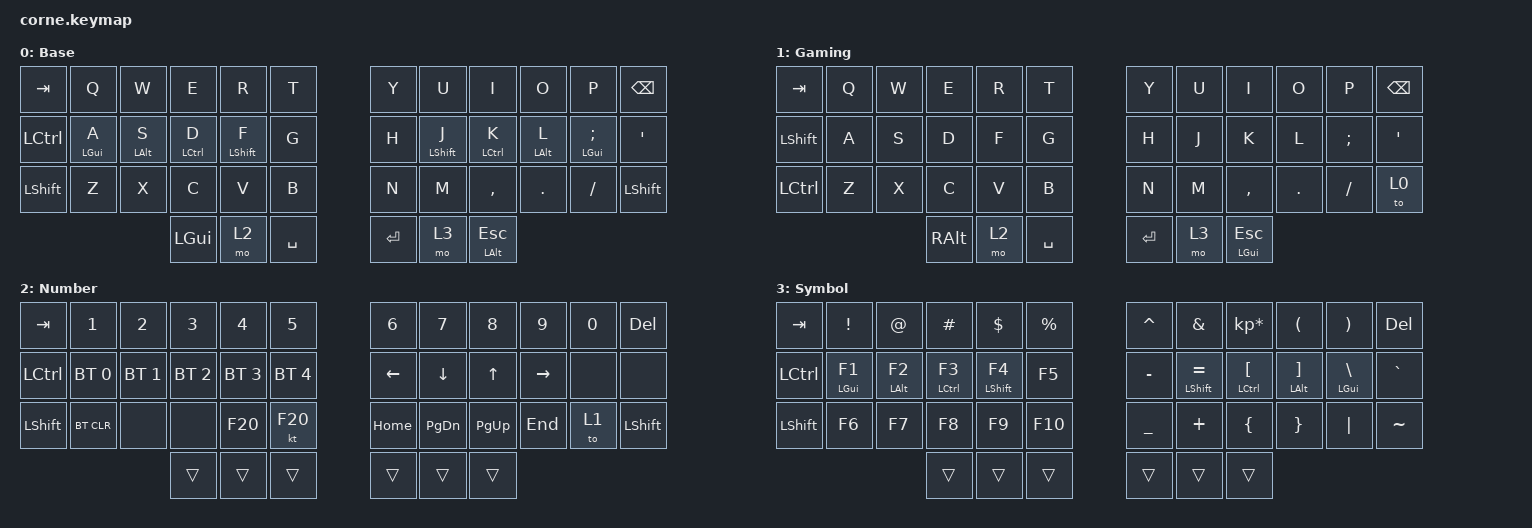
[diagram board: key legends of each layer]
/*
 * Copyright (c) 2020 The ZMK Contributors
 *
 * SPDX-License-Identifier: MIT
 */

#include "keypos_42keys.h"
#include <behaviors.dtsi>
#include <dt-bindings/zmk/bt.h>
#include <dt-bindings/zmk/keys.h>
#include <dt-bindings/zmk/keys.h>

#define KEYS_L LT0 LT1 LT2 LT3 LT4 LT5 LM0 LM1 LM2 LM3 LM4 LM5 LB0 LB1 LB2 LB3 LB4 LB5
#define KEYS_R RT0 RT1 RT2 RT3 RT4 RT5 RM0 RM1 RM2 RM3 RM4 RM5 RB0 RB1 RB2 RB3 RB4 RB5
#define THUMB_L LH2 LH1 LH0
#define THUMB_R RH0 RH1 RH2

/* &mt {
    tapping-term-ms = <200>;
}; */

/ {
    behaviors {
        hm_l: homerow_mod_left {
            compatible = "zmk,behavior-hold-tap";
            #binding-cells = <2>;
            flavor = "balanced";                      // hold if other key pressed and released while this one is pressed
            tapping-term-ms = <250>;                  // hold after this time
            quick-tap-ms = <250>;                     // produces tap if double tapped sooner than this
            bindings = <&kp>, <&kp>;

            hold-trigger-key-positions = <KEYS_R>;    // right-hand keys
        };

        hm_r: homerow_mod_right {
            compatible = "zmk,behavior-hold-tap";
            #binding-cells = <2>;
            flavor = "balanced";                      // hold if other key pressed and released while this one is pressed
            tapping-term-ms = <250>;                  // produces hold only if other key tapped and released sooner than this
            quick-tap-ms = <250>;                     // produces tap if double tapped sooner than this
            bindings = <&kp>, <&kp>;

            hold-trigger-key-positions = <KEYS_L>;    // left-hand keys
        };
    };

    keymap {
        compatible = "zmk,keymap";

        default_layer {
            // -----------------------------------------------------------------------------------------
            // |  TAB |  Q  |  W  |  E  |  R  |  T  |   |  Y  |  U   |  I  |  O  |  P  | BKSP |
            // | CTRL |  A  |  S  |  D  |  F  |  G  |   |  H  |  J   |  K  |  L  |  ;  |  '   |
            // | SHFT |  Z  |  X  |  C  |  V  |  B  |   |  N  |  M   |  ,  |  .  |  /  | ESC  |
            //                    | GUI | LWR | SPC |   | ENT | RSE  | ALT |

            display-name = "Base";
            bindings = <
&kp TAB    &kp Q         &kp W         &kp E          &kp R           &kp T        &kp Y    &kp U           &kp I          &kp O         &kp P            &kp BSPC
&kp LCTRL  &hm_l LGUI A  &hm_l LALT S  &hm_l LCTRL D  &hm_l LSHIFT F  &kp G        &kp H    &hm_r LSHIFT J  &hm_r LCTRL K  &hm_r LALT L  &hm_r LGUI SEMI  &kp SQT
&kp LSHFT  &kp Z         &kp X         &kp C          &kp V           &kp B        &kp N    &kp M           &kp COMMA      &kp DOT       &kp FSLH         &kp LSHIFT
                                       &kp LGUI       &mo 2           &kp SPACE    &kp RET  &mo 3           &mt LALT ESC
            >;
        };

        gaming_layer {
            display-name = "Gaming";
            bindings = <
&kp TAB     &kp Q  &kp W  &kp E     &kp R  &kp T        &kp Y    &kp U  &kp I         &kp O    &kp P          &kp BSPC
&kp LSHIFT  &kp A  &kp S  &kp D     &kp F  &kp G        &kp H    &kp J  &kp K         &kp L    &kp SEMICOLON  &kp SQT
&kp LCTRL   &kp Z  &kp X  &kp C     &kp V  &kp B        &kp N    &kp M  &kp COMMA     &kp DOT  &kp FSLH       &to 0
                          &kp RALT  &mo 2  &kp SPACE    &kp RET  &mo 3  &mt LGUI ESC
            >;
        };

        number_layer {
            // -----------------------------------------------------------------------------------------
            // |  TAB |  1  |  2  |  3  |  4  |  5  |   |  6  |  7  |  8  |  9  |  0  | BKSP |
            // | BTCLR| BT1 | BT2 | BT3 | BT4 | BT5 |   | LFT | DWN |  UP | RGT |     |      |
            // | SHFT |     |     |     |     |     |   |     |     |     |     |     |      |
            //                    | GUI |     | SPC |   | ENT |     | ALT |

            display-name = "Number";
            bindings = <
&kp TAB    &kp N1        &kp N2        &kp N3        &kp N4        &kp N5          &kp N6    &kp N7     &kp N8     &kp N9     &kp N0  &kp DEL
&kp LCTRL  &bt BT_SEL 0  &bt BT_SEL 1  &bt BT_SEL 2  &bt BT_SEL 3  &bt BT_SEL 4    &kp LEFT  &kp DOWN   &kp UP     &kp RIGHT  &none   &none
&kp LSHFT  &bt BT_CLR    &none         &none         &kp F20       &kt F20         &kp HOME  &kp PG_DN  &kp PG_UP  &kp END    &to 1   &kp LSHIFT
                                       &trans        &trans        &trans          &trans    &trans     &trans
            >;
        };

        symbol_layer {
            // -----------------------------------------------------------------------------------------
            // |  TAB |  !  |  @  |  #  |  $  |  %  |   |  ^  |  &  |  *  |  (  |  )  | BKSP |
            // | CTRL |     |     |     |     |     |   |  -  |  =  |  [  |  ]  |  \  |  `   |
            // | SHFT |     |     |     |     |     |   |  _  |  +  |  {  |  }  | "|" |  ~   |
            //                    | GUI |     | SPC |   | ENT |     | ALT |

            display-name = "Symbol";
            bindings = <
&kp TAB    &kp EXCL       &kp AT         &kp HASH        &kp DLLR         &kp PRCNT    &kp CARET  &kp AMPS            &kp KP_MULTIPLY   &kp LPAR         &kp RPAR         &kp DEL
&kp LCTRL  &hm_l LGUI F1  &hm_l LALT F2  &hm_l LCTRL F3  &hm_l LSHIFT F4  &kp F5       &kp MINUS  &hm_r LSHIFT EQUAL  &hm_r LCTRL LBKT  &hm_r LALT RBKT  &hm_r LGUI BSLH  &kp GRAVE
&kp LSHFT  &kp F6         &kp F7         &kp F8          &kp F9           &kp F10      &kp UNDER  &kp PLUS            &kp LBRC          &kp RBRC         &kp PIPE         &kp TILDE
                                         &trans          &trans           &trans       &trans     &trans              &trans
            >;
        };
    };
};
